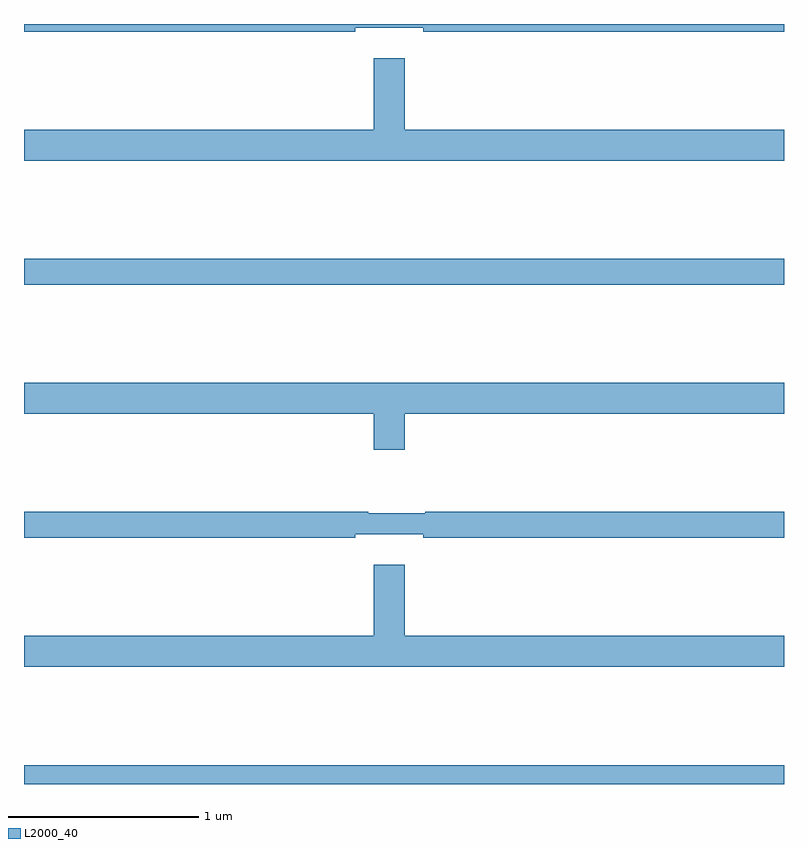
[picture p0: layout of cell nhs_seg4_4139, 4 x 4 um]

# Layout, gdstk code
import gdstk
lib = gdstk.Library(unit=1e-6, precision=1e-09)
def R(c, l, rs):  # rectangles x0, y0, x1, y1
    for r in rs: c.add(gdstk.rectangle(r[:2], r[2:], *l))
def P(c, l, *ps):  # polygons
    for p in ps: c.add(gdstk.Polygon(p, *l))
L2000_40 = (2000, 40)

nhs_seg4_4139 = lib.new_cell('nhs_seg4_4139')
R(nhs_seg4_4139, L2000_40, [(331,766.9,335,767), (331,769.528,335,769.664)])
P(nhs_seg4_4139, L2000_40, [(332.744,770.879),(333.1,770.879),(333.1,770.86),(335,770.86),(335,770.9),(331,770.9),(331,770.86),(332.744,770.86)],
  [(335,770.344),(333.004,770.344),(333.004,770.719),(332.84,770.719),(332.84,770.344),(331,770.344),(331,770.18),(335,770.18)],
  [(333.004,768.848),(335,768.848),(335,769.012),(331,769.012),(331,768.848),(332.84,768.848),(332.84,768.66),(333.004,768.66)],
  [(332.744,768.215),(333.1,768.215),(333.1,768.196),(335,768.196),(335,768.332),(333.113,768.332),(333.113,768.325),(332.813,768.325),(332.813,768.332),(331,768.332),(331,768.196),(332.744,768.196)],
  [(335,767.68),(333.004,767.68),(333.004,768.055),(332.84,768.055),(332.84,767.68),(331,767.68),(331,767.516),(335,767.516)])

lib.write_gds('nhs_seg4_4139.gds')
